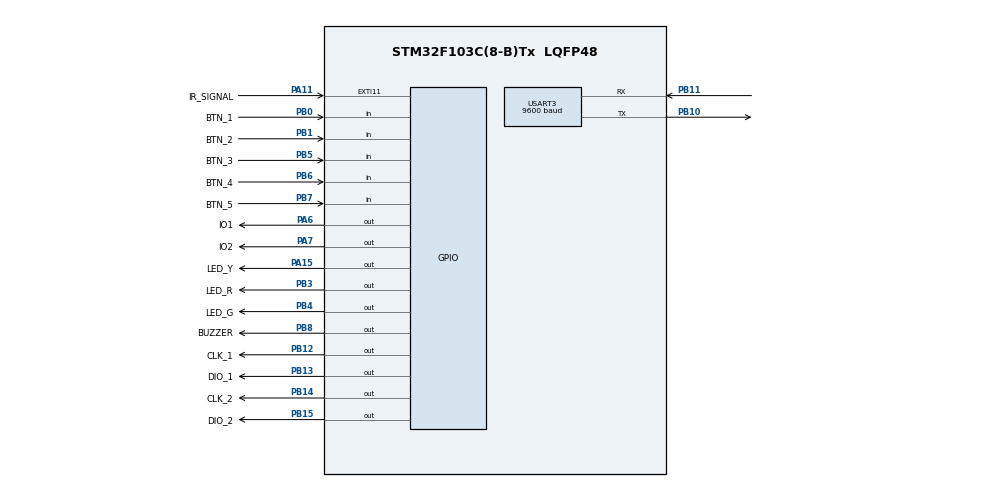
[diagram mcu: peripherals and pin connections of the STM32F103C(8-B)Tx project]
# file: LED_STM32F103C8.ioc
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Mcu.Family=STM32F1
Mcu.Name=STM32F103C(8-B)Tx
Mcu.Package=LQFP48
NVIC.EXTI15_10_IRQn=true\:0\:0\:true\:false\:true\:true\:true\:true
NVIC.PriorityGroup=NVIC_PRIORITYGROUP_4
NVIC.TIM2_IRQn=true\:1\:0\:true\:false\:true\:true\:true\:true
NVIC.USART3_IRQn=true\:2\:0\:true\:false\:true\:true\:true\:true
PA11.GPIO_Label=IR_SIGNAL
PA11.GPIO_ModeDefaultEXTI=GPIO_MODE_IT_RISING_FALLING
PA11.GPIO_PuPd=GPIO_PULLUP
PA11.Signal=GPXTI11
PA13.Mode=Serial_Wire
PA13.Signal=SYS_JTMS-SWDIO
PA14.Mode=Serial_Wire
PA14.Signal=SYS_JTCK-SWCLK
PA15.GPIO_Label=LED_Y
PA15.Signal=GPIO_Output
PA6.GPIO_Label=IO1
PA6.Signal=GPIO_Output
PA7.GPIO_Label=IO2
PA7.Signal=GPIO_Output
PB0.GPIO_Label=BTN_1
PB0.GPIO_PuPd=GPIO_PULLDOWN
PB0.Signal=GPIO_Input
PB1.GPIO_Label=BTN_2
PB1.GPIO_PuPd=GPIO_PULLDOWN
PB1.Signal=GPIO_Input
PB10.Mode=Asynchronous
PB10.Signal=USART3_TX
PB11.Mode=Asynchronous
PB11.Signal=USART3_RX
PB12.GPIO_Label=CLK_1
PB12.Signal=GPIO_Output
PB13.GPIO_Label=DIO_1
PB13.Signal=GPIO_Output
PB14.GPIO_Label=CLK_2
PB14.Signal=GPIO_Output
PB15.GPIO_Label=DIO_2
PB15.Signal=GPIO_Output
PB3.GPIO_Label=LED_R
PB3.Signal=GPIO_Output
PB4.GPIO_Label=LED_G
PB4.Signal=GPIO_Output
PB5.GPIO_Label=BTN_3
PB5.GPIO_PuPd=GPIO_PULLDOWN
PB5.Signal=GPIO_Input
PB6.GPIO_Label=BTN_4
PB6.GPIO_PuPd=GPIO_PULLDOWN
PB6.Signal=GPIO_Input
PB7.GPIO_Label=BTN_5
PB7.GPIO_PuPd=GPIO_PULLDOWN
PB7.Signal=GPIO_Input
PB8.GPIO_Label=BUZZER
PB8.Signal=GPIO_Output
ProjectManager.HeapSize=0x200
ProjectManager.StackSize=0x400
ProjectManager.TargetToolchain=STM32CubeIDE
RCC.APB1Freq_Value=8000000
RCC.APB2Freq_Value=8000000
TIM1.Prescaler=7
TIM2.AutoReloadPreload=TIM_AUTORELOAD_PRELOAD_ENABLE
TIM2.ClockDivision=TIM_CLOCKDIVISION_DIV1
TIM2.Period=9999
TIM2.Prescaler=79
USART3.BaudRate=9600
USART3.VirtualMode=VM_ASYNC
VP_TIM1_VS_ClockSourceINT.Mode=Internal
VP_TIM2_VS_ClockSourceINT.Mode=Internal
board=custom

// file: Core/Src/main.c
/* USER CODE BEGIN Header */
/**
  ******************************************************************************
  * @file           : main.c
  * @brief          : Main program body
  ******************************************************************************
  * @attention
  *
  * Copyright (c) 2022 STMicroelectronics.
  * All rights reserved.
  *
  * This software is licensed under terms that can be found in the LICENSE file
  * in the root directory of this software component.
  * If no LICENSE file comes with this software, it is provided AS-IS.
  *
  ******************************************************************************
  */
/* USER CODE END Header */
#include "main.h"

/* USER CODE BEGIN Includes */
#include <stdio.h>

#include "User_Task.h"
#include "TM1637_MAIN.h"
/* USER CODE END Includes */

/* USER CODE BEGIN PTD */
typedef enum{
	E_STATE_STARTUP,
	E_STATE_POWER_ON,
	E_STATE_PLAYING,
	E_STATE_CFG_MODE,
	E_STATE_RUN_MODE
}eUSER_TASK_STATE;
/* USER CODE END PTD */

TIM_HandleTypeDef htim1;
TIM_HandleTypeDef htim2;

UART_HandleTypeDef huart3;

/* USER CODE BEGIN PV */

static eUSER_TASK_STATE eUserTask_State = E_STATE_STARTUP;
static uint8_t Playing_Stt;
static uint16_t button_press_cnt = 0;

volatile uint32_t tempCode;
volatile uint8_t bitIndex;
/* USER CODE END PV */

void SystemClock_Config(void);
static void MX_GPIO_Init(void);
static void MX_USART3_UART_Init(void);
static void MX_TIM2_Init(void);
static void MX_TIM1_Init(void);

extern volatile uint32_t IRcode;

/* USER CODE BEGIN 0 */
#ifdef __GNUC__
#define PUTCHAR_PROTOTYPE int __io_putchar(int ch)
#else
#define PUTCHAR_PROTOTYPE int fputc(int ch, FILE *f)
#endif

PUTCHAR_PROTOTYPE
{
  HAL_UART_Transmit(&huart3, (uint8_t *)&ch, 1, HAL_MAX_DELAY);
  return ch;
}
/* USER CODE END 0 */

int main(void)
{

  /* MCU Configuration--------------------------------------------------------*/

  /* Reset of all peripherals, Initializes the Flash interface and the Systick. */
  HAL_Init();

  /* Configure the system clock */
  SystemClock_Config();

  /* Initialize all configured peripherals */
  MX_GPIO_Init();
  MX_USART3_UART_Init();
  MX_TIM2_Init();
  MX_TIM1_Init();
  /* USER CODE BEGIN 2 */
  HAL_TIM_Base_Start(&htim1);
  __HAL_TIM_SET_COUNTER(&htim1, 0);

  HAL_TIM_Base_Start_IT(&htim2);
  //HAL_GPIO_WritePin(BUZZER_GPIO_Port, BUZZER_Pin, GPIO_PIN_SET);
  /* USER CODE END 2 */

  /* Infinite loop */
  /* USER CODE BEGIN WHILE */
  Task_User_1stInit(1);
  while (1)
  {
    /* USER CODE END WHILE */

    /* USER CODE BEGIN 3 */
	 switch(eUserTask_State)
	 {
		 case E_STATE_STARTUP:
		 {
			 HAL_GPIO_TogglePin(LED_Y_GPIO_Port, LED_Y_Pin);

			 Led7TurnTime_Display(10, 10, 0, 0);
			 Led7HitCnt_Display(10, 10, 10, 10);
			 Led7RoundTime_Display(10, 10, 10, 10, 0);

			 Task_Blink_Line(0, 0, 1);
			 Task_Led_StartPoint(12, 12, 12);
			 Task_led_xl(0, 0x00);
			 Task_Clear_Display(0);
			 Task_Buzzer_Enable();

			 while(1)
			 {
				 //Task_100ms();
				 if(POWER_BUT_VAL == BUTTON_ACTIVE){
					 delay_ms(BUTTON_DELAY);
					 if(POWER_BUT_VAL == BUTTON_ACTIVE){
						 while(POWER_BUT_VAL == BUTTON_ACTIVE)
						 {
							 button_press_cnt++;
							 if(button_press_cnt > 20){
								 Led7TurnTime_Display(10, 10, 8*(button_press_cnt%2), 8*(button_press_cnt%2));
							 }
							 delay_ms(100);
						 }
						 if(button_press_cnt > 20){
							 Task_Buzzer_Enable();
							 eUserTask_State = E_STATE_POWER_ON;
						 }
						 button_press_cnt = 0;
					 }
				 }
				 else if(PLUS_BUT_VAL == BUTTON_ACTIVE){
					 delay_ms((int)BUTTON_DELAY);
					 if(PLUS_BUT_VAL ==BUTTON_ACTIVE){
						 while(PLUS_BUT_VAL == BUTTON_ACTIVE)
						 {
							 button_press_cnt++;
							 if(button_press_cnt > 20){
								 Led7TurnTime_Display(10, 10, 8*(button_press_cnt%2), 8*(button_press_cnt%2));
							 }
							 delay_ms(100);
						 }
						 if(button_press_cnt > 20){
							 eUserTask_State = E_STATE_RUN_MODE;
						 }
						 button_press_cnt = 0;
					 }
				 }
//				 else if(MINUS_BUT_VAL == BUTTON_ACTIVE){
//					 delay_ms(20);
//					 if(MINUS_BUT_VAL == BUTTON_ACTIVE){
//						 while(MINUS_BUT_VAL == BUTTON_ACTIVE)
//						 {
//							 button_press_cnt++;
//							 if(button_press_cnt > 30){
//								 Led7TurnTime_Display(10, 10, 8*(button_press_cnt%2), 8*(button_press_cnt%2));
//							 }
//							 delay_ms(100);
//						 }
//						 button_press_cnt = 0;
//					 }
//				 }
//				 else if(NEXT_BUT_VAL == BUTTON_ACTIVE){
//					 delay_ms(20);
//					 if(NEXT_BUT_VAL == BUTTON_ACTIVE){
//						 while(NEXT_BUT_VAL == BUTTON_ACTIVE)
//						 {
//							 button_press_cnt++;
//							 if(button_press_cnt > 30){
//								 Led7TurnTime_Display(10, 10, 8*(button_press_cnt%2), 8*(button_press_cnt%2));
//							 }
//							 delay_ms(100);
//						 }
//						 button_press_cnt = 0;
//					 }
//				 }
//				 else if(MODE_BUT_VAL == BUTTON_ACTIVE){
//					 delay_ms(20);
//					 if(MODE_BUT_VAL == BUTTON_ACTIVE){x
//						 while(MODE_BUT_VAL == BUTTON_ACTIVE)
//						 {
//							 button_press_cnt++;
//							 if(button_press_cnt > 30){
//								 Led7TurnTime_Display(10, 10, 8*(button_press_cnt%2), 8*(button_press_cnt%2));
//							 }
//							 delay_ms(100);
//						 }
//						 button_press_cnt = 0;
//					 }
//				 }

				 if(eUserTask_State!=E_STATE_STARTUP){
					 break;
				 }
			 }
			 break;
		 }

		 case E_STATE_POWER_ON:
		 {
			 //Send data ON LXL
			 Task_led_xl(0, 0x00);
			 Task_Round_Init();
			 HAL_GPIO_TogglePin(LED_Y_GPIO_Port, LED_Y_Pin);
			 while(1)
			 {
				 Task_100ms();
				 if(POWER_BUT_VAL == BUTTON_ACTIVE){
					 delay_ms((int)BUTTON_DELAY);
					 if (POWER_BUT_VAL == BUTTON_ACTIVE){
						 while (POWER_BUT_VAL == BUTTON_ACTIVE){
							 button_press_cnt++;
							 if(button_press_cnt > 20){
								 Led7TurnTime_Display(10, 10, 8*(button_press_cnt%2), 8*(button_press_cnt%2));
							 }
							 delay_ms(100);
						 }
						 if (button_press_cnt > 20){
							 eUserTask_State = E_STATE_STARTUP;
						 }
						 else {
							 Task_Buzzer_Enable();
							 eUserTask_State = E_STATE_PLAYING;
						 }
						 button_press_cnt = 0;
					 }
				 }
				 else if(MODE_BUT_VAL == BUTTON_ACTIVE){
					 delay_ms((int)BUTTON_DELAY);
					 if (MODE_BUT_VAL == BUTTON_ACTIVE){
						 while(MODE_BUT_VAL == BUTTON_ACTIVE)
						 {
							 button_press_cnt++;
							 if(button_press_cnt > 20){
								 Led7TurnTime_Display(10, 10, 8*(button_press_cnt%2), 8*(button_press_cnt%2));
							 }
							 delay_ms(100);
						 }
						 if(button_press_cnt > 20){
							 Task_Buzzer_Enable();
							 eUserTask_State = E_STATE_CFG_MODE;
						 }
						 button_press_cnt = 0;
					 }
				 }

				 if(eUserTask_State!=E_STATE_POWER_ON)
					 break;
			 }
			 break;
		 }

		 case E_STATE_PLAYING:
		 {
			 HAL_GPIO_TogglePin(LED_R_GPIO_Port, LED_R_Pin);

			 while(1)
			 {
				Playing_Stt = Task_Playing();
				if(Playing_Stt == 0x01)			//Next Rout
					eUserTask_State = E_STATE_POWER_ON;
				else if(Playing_Stt == 0xFF)	//Winner -> Reset
					Task_led_xl(0, 0x0F);

				Task_100ms();
				if(POWER_BUT_VAL == BUTTON_ACTIVE){
					delay_ms((int)BUTTON_DELAY);
					if (POWER_BUT_VAL == BUTTON_ACTIVE){
						while (POWER_BUT_VAL == BUTTON_ACTIVE){
							button_press_cnt++;
							if(button_press_cnt > 20){
								Led7TurnTime_Display(10, 10, 8*(button_press_cnt%2), 8*(button_press_cnt%2));
							}
							delay_ms(100);
						}
						if(button_press_cnt > 20){
							Task_User_1stInit(0);
							eUserTask_State = E_STATE_STARTUP;
						}
						button_press_cnt = 0;
					}
				}

				if(eUserTask_State!=E_STATE_PLAYING)
					break;
			 }
			 break;
		 }
		 case E_STATE_RUN_MODE:
		 {
			 Task_led_xl(0, 0x0F);
			 Task_TestMode_Display(0, IRcode);
			 while(1){
				if(Task_Run_TestMode()){
					eUserTask_State = E_STATE_STARTUP;
				}
				if(eUserTask_State!=E_STATE_RUN_MODE)
					break;
			 }
			 break;
		 }
		 case E_STATE_CFG_MODE:
		 {
			 Task_Read_Cfg();
			 Led7TurnTime_Display(10, 10, 0, 0);
			 Led7HitCnt_Display(10, 10, 10, 10);
			 Led7RoundTime_Display(10, 10, 10, 10, 0);

			 Task_Led_StartPoint(12, 12, 12);
			 Task_led_xl(0, 0x00);
			 Task_Clear_Display(0);
			 while(1)
			 {
				 Task_Mode_Cfg();
				 Task_100ms();
				 if(MODE_BUT_VAL == BUTTON_ACTIVE){
					 delay_ms((int)BUTTON_DELAY);
					 if (MODE_BUT_VAL == BUTTON_ACTIVE){
						 while(MODE_BUT_VAL == BUTTON_ACTIVE)
						 {
							 button_press_cnt++;
							 if(button_press_cnt > 20){
								 Led7TurnTime_Display(10, 10, 8*(button_press_cnt%2), 8*(button_press_cnt%2));
							 }
							 delay_ms(100);
						 }
						 if(button_press_cnt > 20){
							 Task_Buzzer_Enable();
							 Task_User_1stInit(0);
							Task_Save_Cfg();
							eUserTask_State = E_STATE_POWER_ON;
						 }
						 button_press_cnt = 0;
					 }
				 }
				 if(eUserTask_State!=E_STATE_CFG_MODE)
					break;
			 }
			 break;
		 }
	 }
  }
  /* USER CODE END 3 */
}

void SystemClock_Config(void)
{
  RCC_OscInitTypeDef RCC_OscInitStruct = {0};
  RCC_ClkInitTypeDef RCC_ClkInitStruct = {0};

  /** Initializes the RCC Oscillators according to the specified parameters
  * in the RCC_OscInitTypeDef structure.
  */
  RCC_OscInitStruct.OscillatorType = RCC_OSCILLATORTYPE_HSI;
  RCC_OscInitStruct.HSIState = RCC_HSI_ON;
  RCC_OscInitStruct.HSICalibrationValue = RCC_HSICALIBRATION_DEFAULT;
  RCC_OscInitStruct.PLL.PLLState = RCC_PLL_NONE;
  if (HAL_RCC_OscConfig(&RCC_OscInitStruct) != HAL_OK)
  {
    Error_Handler();
  }

  /** Initializes the CPU, AHB and APB buses clocks
  */
  RCC_ClkInitStruct.ClockType = RCC_CLOCKTYPE_HCLK|RCC_CLOCKTYPE_SYSCLK
                              |RCC_CLOCKTYPE_PCLK1|RCC_CLOCKTYPE_PCLK2;
  RCC_ClkInitStruct.SYSCLKSource = RCC_SYSCLKSOURCE_HSI;
  RCC_ClkInitStruct.AHBCLKDivider = RCC_SYSCLK_DIV1;
  RCC_ClkInitStruct.APB1CLKDivider = RCC_HCLK_DIV1;
  RCC_ClkInitStruct.APB2CLKDivider = RCC_HCLK_DIV1;

  if (HAL_RCC_ClockConfig(&RCC_ClkInitStruct, FLASH_LATENCY_0) != HAL_OK)
  {
    Error_Handler();
  }
}

static void MX_TIM1_Init(void)
{

  TIM_ClockConfigTypeDef sClockSourceConfig = {0};
  TIM_MasterConfigTypeDef sMasterConfig = {0};

  htim1.Instance = TIM1;
  htim1.Init.Prescaler = 7;
  htim1.Init.CounterMode = TIM_COUNTERMODE_UP;
  htim1.Init.Period = 65535;
  htim1.Init.ClockDivision = TIM_CLOCKDIVISION_DIV1;
  htim1.Init.RepetitionCounter = 0;
  htim1.Init.AutoReloadPreload = TIM_AUTORELOAD_PRELOAD_DISABLE;
  if (HAL_TIM_Base_Init(&htim1) != HAL_OK)
  {
    Error_Handler();
  }
  sClockSourceConfig.ClockSource = TIM_CLOCKSOURCE_INTERNAL;
  if (HAL_TIM_ConfigClockSource(&htim1, &sClockSourceConfig) != HAL_OK)
  {
    Error_Handler();
  }
  sMasterConfig.MasterOutputTrigger = TIM_TRGO_RESET;
  sMasterConfig.MasterSlaveMode = TIM_MASTERSLAVEMODE_DISABLE;
  if (HAL_TIMEx_MasterConfigSynchronization(&htim1, &sMasterConfig) != HAL_OK)
  {
    Error_Handler();
  }

}

static void MX_TIM2_Init(void)
{

  TIM_ClockConfigTypeDef sClockSourceConfig = {0};
  TIM_MasterConfigTypeDef sMasterConfig = {0};

  htim2.Instance = TIM2;
  htim2.Init.Prescaler = 79;
  htim2.Init.CounterMode = TIM_COUNTERMODE_UP;
  htim2.Init.Period = 9999;
  htim2.Init.ClockDivision = TIM_CLOCKDIVISION_DIV1;
  htim2.Init.AutoReloadPreload = TIM_AUTORELOAD_PRELOAD_ENABLE;
  if (HAL_TIM_Base_Init(&htim2) != HAL_OK)
  {
    Error_Handler();
  }
  sClockSourceConfig.ClockSource = TIM_CLOCKSOURCE_INTERNAL;
  if (HAL_TIM_ConfigClockSource(&htim2, &sClockSourceConfig) != HAL_OK)
  {
    Error_Handler();
  }
  sMasterConfig.MasterOutputTrigger = TIM_TRGO_RESET;
  sMasterConfig.MasterSlaveMode = TIM_MASTERSLAVEMODE_DISABLE;
  if (HAL_TIMEx_MasterConfigSynchronization(&htim2, &sMasterConfig) != HAL_OK)
  {
    Error_Handler();
  }

}

static void MX_USART3_UART_Init(void)
{

  huart3.Instance = USART3;
  huart3.Init.BaudRate = 9600;
  huart3.Init.WordLength = UART_WORDLENGTH_8B;
  huart3.Init.StopBits = UART_STOPBITS_1;
  huart3.Init.Parity = UART_PARITY_NONE;
  huart3.Init.Mode = UART_MODE_TX_RX;
  huart3.Init.HwFlowCtl = UART_HWCONTROL_NONE;
  huart3.Init.OverSampling = UART_OVERSAMPLING_16;
  if (HAL_UART_Init(&huart3) != HAL_OK)
  {
    Error_Handler();
  }

}

static void MX_GPIO_Init(void)
{
  GPIO_InitTypeDef GPIO_InitStruct = {0};

  /* GPIO Ports Clock Enable */
  __HAL_RCC_GPIOA_CLK_ENABLE();
  __HAL_RCC_GPIOB_CLK_ENABLE();

  /*Configure GPIO pin Output Level */
  HAL_GPIO_WritePin(GPIOA, IO1_Pin|IO2_Pin|LED_Y_Pin, GPIO_PIN_RESET);

  /*Configure GPIO pin Output Level */
  HAL_GPIO_WritePin(GPIOB, CLK_1_Pin|DIO_1_Pin|CLK_2_Pin|DIO_2_Pin
                          |LED_R_Pin|LED_G_Pin|BUZZER_Pin, GPIO_PIN_RESET);

  /*Configure GPIO pins : IO1_Pin IO2_Pin LED_Y_Pin */
  GPIO_InitStruct.Pin = IO1_Pin|IO2_Pin|LED_Y_Pin;
  GPIO_InitStruct.Mode = GPIO_MODE_OUTPUT_PP;
  GPIO_InitStruct.Pull = GPIO_NOPULL;
  GPIO_InitStruct.Speed = GPIO_SPEED_FREQ_LOW;
  HAL_GPIO_Init(GPIOA, &GPIO_InitStruct);

  /*Configure GPIO pins : BTN_1_Pin BTN_2_Pin BTN_3_Pin BTN_4_Pin
                           BTN_5_Pin */
  GPIO_InitStruct.Pin = BTN_1_Pin|BTN_2_Pin|BTN_3_Pin|BTN_4_Pin
                          |BTN_5_Pin;
  GPIO_InitStruct.Mode = GPIO_MODE_INPUT;
  GPIO_InitStruct.Pull = GPIO_PULLDOWN;
  HAL_GPIO_Init(GPIOB, &GPIO_InitStruct);

  /*Configure GPIO pins : CLK_1_Pin DIO_1_Pin CLK_2_Pin DIO_2_Pin
                           LED_R_Pin LED_G_Pin BUZZER_Pin */
  GPIO_InitStruct.Pin = CLK_1_Pin|DIO_1_Pin|CLK_2_Pin|DIO_2_Pin
                          |LED_R_Pin|LED_G_Pin|BUZZER_Pin;
  GPIO_InitStruct.Mode = GPIO_MODE_OUTPUT_PP;
  GPIO_InitStruct.Pull = GPIO_NOPULL;
  GPIO_InitStruct.Speed = GPIO_SPEED_FREQ_LOW;
  HAL_GPIO_Init(GPIOB, &GPIO_InitStruct);

  /*Configure GPIO pin : IR_SIGNAL_Pin */
  GPIO_InitStruct.Pin = IR_SIGNAL_Pin;
  GPIO_InitStruct.Mode = GPIO_MODE_IT_RISING_FALLING;
  GPIO_InitStruct.Pull = GPIO_PULLUP;
  HAL_GPIO_Init(IR_SIGNAL_GPIO_Port, &GPIO_InitStruct);

  /* EXTI interrupt init*/
  HAL_NVIC_SetPriority(EXTI15_10_IRQn, 0, 0);
  HAL_NVIC_EnableIRQ(EXTI15_10_IRQn);

}

/* USER CODE BEGIN 4 */
void HAL_GPIO_EXTI_Callback(uint16_t GPIO_Pin)
{
  if(GPIO_Pin == IR_SIGNAL_Pin) {
	if(HAL_GPIO_ReadPin(IR_SIGNAL_GPIO_Port, IR_SIGNAL_Pin) == GPIO_PIN_RESET)
	{
		__HAL_TIM_SET_COUNTER(&htim1, 0);
	}
	else
	{
		if (__HAL_TIM_GET_COUNTER(&htim1) > 1000)
		{
			tempCode |= (1UL << (31-bitIndex));   // write 1
		}
		else
		{
			tempCode &= ~(1UL << (31-bitIndex));  // write 0
		}

		bitIndex++;
		if(bitIndex == 24)
		{
			IRcode = tempCode >> 8; // Second last 8 bits
			//if((int)IRcode != (int)IR_LEDXL_CODE)
			 //Do your main work HERE
			//printf("IR Code 0x%x\n", (int)IRcode);

			tempCode = 0;
			bitIndex = 0;
		}
	}
  } else {
      __NOP();
  }
}
//void HAL_TIM_PeriodElapsedCallback(TIM_HandleTypeDef* htim)
//{
//	vGetIOButtonValue(eButton1, HAL_GPIO_ReadPin(BTN_1_GPIO_Port, BTN_1_Pin), &strOld_Button_Value, &strIO_Button_Value);
//	vGetIOButtonValue(eButton2, HAL_GPIO_ReadPin(BTN_2_GPIO_Port, BTN_2_Pin), &strOld_Button_Value, &strIO_Button_Value);
//	vGetIOButtonValue(eButton3, HAL_GPIO_ReadPin(BTN_3_GPIO_Port, BTN_3_Pin), &strOld_Button_Value, &strIO_Button_Value);
//	vGetIOButtonValue(eButton4, HAL_GPIO_ReadPin(BTN_4_GPIO_Port, BTN_4_Pin), &strOld_Button_Value, &strIO_Button_Value);
//	vGetIOButtonValue(eButton5, HAL_GPIO_ReadPin(BTN_5_GPIO_Port, BTN_5_Pin), &strOld_Button_Value, &strIO_Button_Value);
//	if(memcmp(strOld_Button_Value.bButtonState, strIO_Button_Value.bButtonState, NUMBER_IO_BUTTON_USE))
//	{
//		memcpy(strOld_Button_Value.bButtonState, strIO_Button_Value.bButtonState, NUMBER_IO_BUTTON_USE);
//		strIO_Button_Value.bFlagNewButton = 1;
//	}
//	else{
//		strIO_Button_Value.bFlagNewButton = 0;
//	}
//}
/* USER CODE END 4 */

void Error_Handler(void)
{
  __disable_irq();
  while (1)
  {
  }
}
